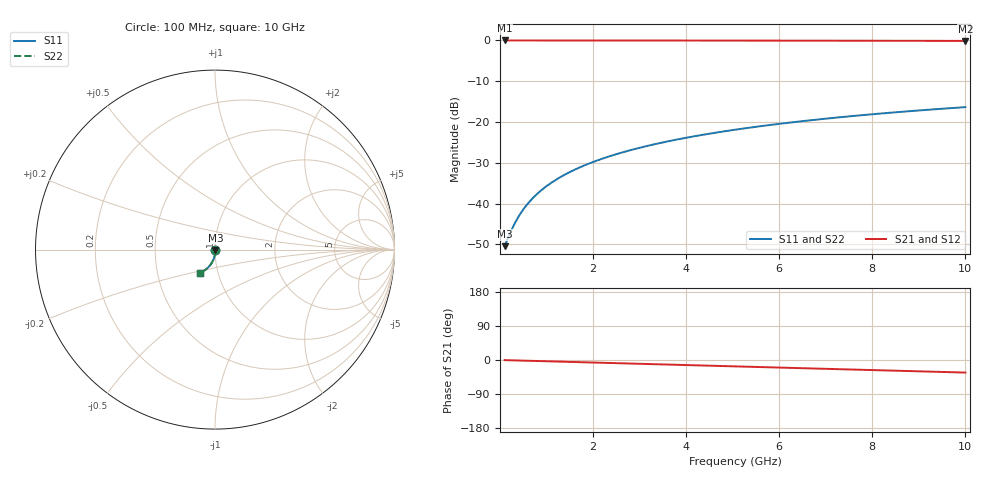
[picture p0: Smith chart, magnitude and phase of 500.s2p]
# Hz S RI R 50.00
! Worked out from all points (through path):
!   100 points, 100 MHz to 10 GHz, reference 50 ohm
!   highest |S21| = -0.02 dB at 100 MHz (marker M1); lowest = -0.1 dB at 10 GHz (marker M2)
!   group delay of S21, straight-line fit = 9.22 ps
!   lowest |S11| = -50.4 dB at 100 MHz (marker M3), VSWR 1.01, Z = 50.3 - j0.164 ohm
!   |S11| at or under -10 dB: start of sweep to end of sweep
!   |S22| runs from -50.4 to -16.4 dB; largest |S21 - S12| = 0
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1e8  0.00253 -0.00163  0.9974 -0.0058  0.9974 -0.0058  0.00253 -0.00163
2e8  0.00251 -0.00326  0.9974 -0.0116  0.9974 -0.0116  0.00251 -0.00326
3e8  0.00247 -0.00488  0.9973 -0.0174  0.9973 -0.0174  0.00247 -0.00488
4e8  0.00241 -0.00651  0.9971 -0.0232  0.9971 -0.0232  0.00241 -0.00651
5e8  0.00233 -0.00814  0.9969 -0.029  0.9969 -0.029  0.00233 -0.00814
6e8  0.00223 -0.00976  0.9967 -0.0348  0.9967 -0.0348  0.00223 -0.00976
7e8  0.00211 -0.0114  0.9965 -0.0406  0.9965 -0.0406  0.00211 -0.0114
9e8  0.00182 -0.0146  0.9959 -0.0522  0.9959 -0.0522  0.00182 -0.0146
1e9  0.00164 -0.0162  0.9955 -0.058  0.9955 -0.058  0.00164 -0.0162
1.2e9  0.00123 -0.0195  0.9947 -0.0696  0.9947 -0.0696  0.00123 -0.0195
1.5e9  0.000474 -0.0243  0.9932 -0.0869  0.9932 -0.0869  0.000474 -0.0243
1.8e9  -0.000452 -0.0291  0.9914 -0.1042  0.9914 -0.1042  -0.000452 -0.0291
2.1e9  -0.00155 -0.0339  0.9892 -0.1215  0.9892 -0.1215  -0.00155 -0.0339
2.5e9  -0.00326 -0.0401  0.9859 -0.1444  0.9859 -0.1444  -0.00326 -0.0401
2.9e9  -0.00526 -0.0463  0.982 -0.1672  0.982 -0.1672  -0.00526 -0.0463
3.4e9  -0.00817 -0.0539  0.9762 -0.1956  0.9762 -0.1956  -0.00817 -0.0539
4.2e9  -0.0137 -0.0657  0.9653 -0.2405  0.9653 -0.2405  -0.0137 -0.0657
5.1e9  -0.0212 -0.0783  0.9504 -0.2903  0.9504 -0.2903  -0.0212 -0.0783
5.9e9  -0.0289 -0.0887  0.9348 -0.3336  0.9348 -0.3336  -0.0289 -0.0887
6.7e9  -0.0376 -0.0984  0.9172 -0.376  0.9172 -0.376  -0.0376 -0.0984
8.4e9  -0.0586 -0.116  0.8733 -0.4625  0.8733 -0.4625  -0.0586 -0.116
1e10  -0.081 -0.1286  0.8245 -0.5389  0.8245 -0.5389  -0.081 -0.1286
